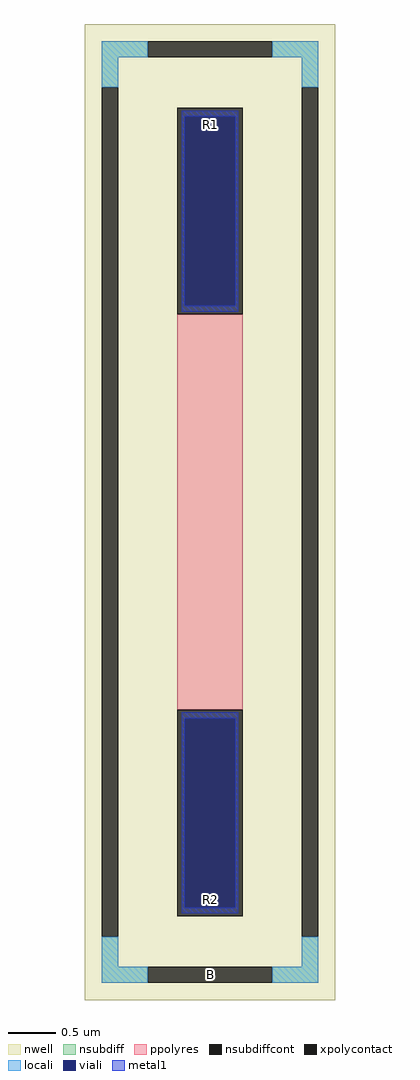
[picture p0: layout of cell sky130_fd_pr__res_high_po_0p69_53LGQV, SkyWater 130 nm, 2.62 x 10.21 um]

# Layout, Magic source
magic
tech sky130A
magscale 1 2
<< nwell >>
rect -262 -1021 262 1021
<< nsubdiff >>
rect -226 951 -130 985
rect 130 951 226 985
rect -226 889 -192 951
rect 192 889 226 951
rect -226 -951 -192 -889
rect 192 -951 226 -889
rect -226 -985 -130 -951
rect 130 -985 226 -951
<< nsubdiffcont >>
rect -130 951 130 985
rect -226 -889 -192 889
rect 192 -889 226 889
rect -130 -985 130 -951
<< xpolycontact >>
rect -69 414 69 846
rect -69 -846 69 -414
<< ppolyres >>
rect -69 -414 69 414
<< locali >>
rect -226 951 -130 985
rect 130 951 226 985
rect -226 889 -192 951
rect 192 889 226 951
rect -226 -951 -192 -889
rect 192 -951 226 -889
rect -226 -985 -130 -951
rect 130 -985 226 -951
<< viali >>
rect -53 431 53 828
rect -53 -828 53 -431
<< metal1 >>
rect -59 828 59 840
rect -59 431 -53 828
rect 53 431 59 828
rect -59 419 59 431
rect -59 -431 59 -419
rect -59 -828 -53 -431
rect 53 -828 59 -431
rect -59 -840 59 -828
<< labels >>
rlabel nsubdiffcont 0 -968 0 -968 0 B
port 1 nsew
rlabel xpolycontact 0 811 0 811 0 R1
port 2 nsew
rlabel xpolycontact 0 -811 0 -811 0 R2
port 3 nsew
<< properties >>
string FIXED_BBOX -209 -968 209 968
string gencell sky130_fd_pr__res_high_po_0p69
string library sky130
string parameters w 0.690 l 4.3 m 1 nx 1 wmin 0.690 lmin 0.50 class resistor rho 319.8 val 2.557k dummy 0 dw 0.0 term 194.82 sterm 0.0 caplen 0 guard 1 glc 1 grc 1 gtc 1 gbc 1 compatible {sky130_fd_pr__res_high_po_0p35  sky130_fd_pr__res_high_po_0p69 sky130_fd_pr__res_high_po_1p41  sky130_fd_pr__res_high_po_2p85 sky130_fd_pr__res_high_po_5p73} snake 0 full_metal 1 wmax 0.690 n_guard 1 hv_guard 0 vias 1 viagb 0 viagt 0 viagl 0 viagr 0 doports 1
<< end >>
